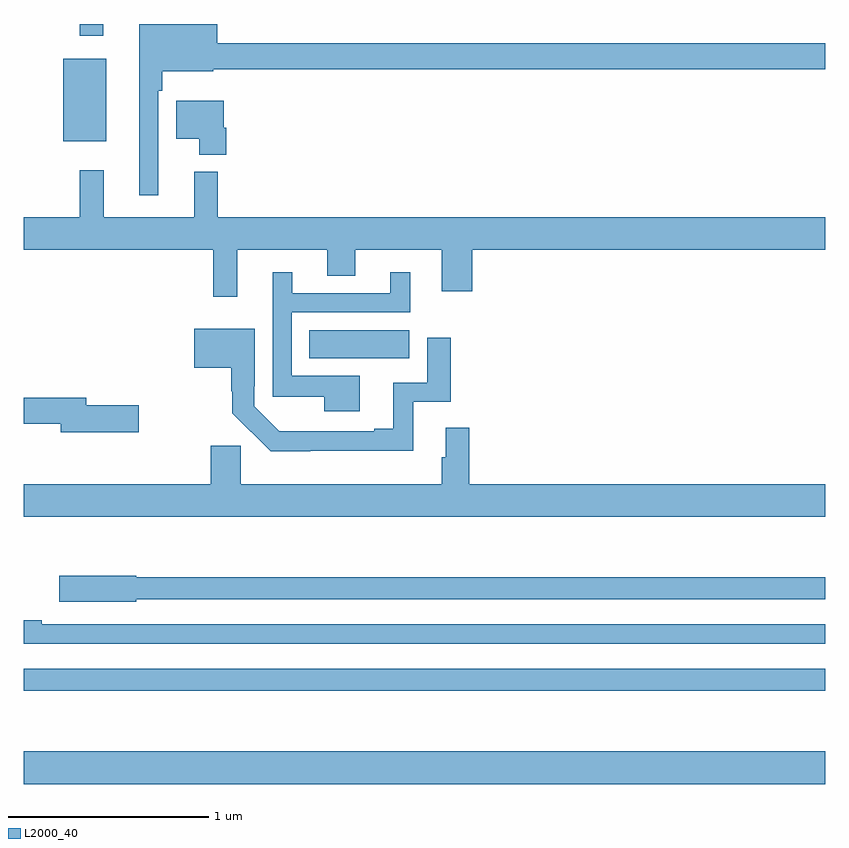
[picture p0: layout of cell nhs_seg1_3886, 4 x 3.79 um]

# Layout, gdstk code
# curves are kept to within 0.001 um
import gdstk
lib = gdstk.Library(unit=1e-6, precision=1e-09)
def R(c, l, rs):  # rectangles x0, y0, x1, y1
    for r in rs: c.add(gdstk.rectangle(r[:2], r[2:], *l))
def P(c, l, *ps):  # polygons
    for p in ps: c.add(gdstk.Polygon(p, *l))
L2000_40 = (2000, 40)

nhs_seg1_3886 = lib.new_cell('nhs_seg1_3886')
R(nhs_seg1_3886, L2000_40, [(323,542.408,327,542.572), (323,542.874,327,542.982), (324.424,544.532,324.925,544.672), (323.198,545.615,323.413,546.025), (323.281,546.141,323.398,546.199)])
P(nhs_seg1_3886, L2000_40, [(323.673,545.867),(323.693,545.867),(323.693,545.963),(323.947,545.963),(323.947,545.974),(327,545.974),(327,546.103),(323.966,546.103),(323.966,546.199),(323.576,546.199),(323.576,545.346),(323.673,545.346)],
  [(324.011,545.682),(323.998,545.682),(323.998,545.815),(323.762,545.815),(323.762,545.627),(323.876,545.627),(323.876,545.546),(324.011,545.546)],
  [(324.065,545.072),(324.515,545.072),(324.515,544.942),(324.655,544.942),(324.655,545.072),(325.085,545.072),(325.085,544.866),(325.238,544.866),(325.238,545.072),(327,545.072),(327,545.236),(323.969,545.236),(323.969,545.461),(323.852,545.461),(323.852,545.236),(323.399,545.236),(323.399,545.47),(323.281,545.47),(323.281,545.236),(323,545.236),(323,545.072),(323.947,545.072),(323.947,544.839),(324.065,544.839)],
  [(324.676,544.444),(324.339,544.444),(324.339,544.761),(324.928,544.761),(324.928,544.96),(324.83,544.96),(324.83,544.857),(324.34,544.857),(324.34,544.96),(324.243,544.96),(324.243,544.34),(324.5,544.34),(324.5,544.268),(324.676,544.268)],
  [(324.431,544.07),(324.943,544.07),(324.943,544.314),(325.13,544.314),(325.13,544.633),(325.014,544.633),(325.014,544.41),(324.845,544.41),(324.845,544.18),(324.749,544.18),(324.749,544.167),(324.276,544.168),(324.15,544.293),(324.15,544.393),(324.153,544.393),(324.153,544.678),(323.852,544.678),(323.852,544.484),(324.035,544.484),(324.035,544.367),(324.042,544.367),(324.042,544.257),(324.232,544.068),(324.431,544.068)],
  [(323.575,544.298),(323.314,544.298),(323.314,544.334),(323,544.334),(323,544.206),(323.186,544.206),(323.186,544.163),(323.575,544.163)],
  [(327,543.904),(325.223,543.904),(325.223,544.186),(325.106,544.186),(325.106,544.037),(325.087,544.037),(325.087,543.904),(324.083,543.904),(324.083,544.095),(323.933,544.095),(323.933,543.904),(323,543.904),(323,543.74),(327,543.74)],
  [(323.562,543.33),(327,543.33),(327,543.439),(323.562,543.439),(323.562,543.447),(323.178,543.447),(323.178,543.317),(323.562,543.317)],
  [(327,543.204),(323.09,543.204),(323.09,543.224),(323,543.224),(323,543.108),(327,543.108)])

lib.write_gds('nhs_seg1_3886.gds')
